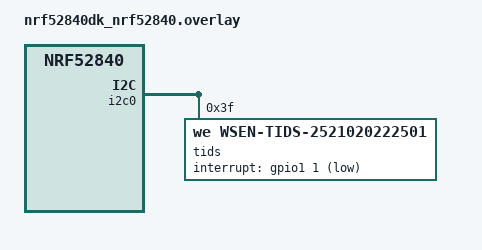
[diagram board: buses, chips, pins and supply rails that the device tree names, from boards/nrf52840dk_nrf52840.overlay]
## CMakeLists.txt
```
# SPDX-License-Identifier: Apache-2.0

cmake_minimum_required(VERSION 3.20.0)
find_package(Zephyr REQUIRED HINTS $ENV{ZEPHYR_BASE})
project(wsen_tids_2521020222501)

target_sources(app PRIVATE src/main.c)
```

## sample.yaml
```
sample:
  name: WSEN-TIDS-2521020222501 Sensor Sample
tests:
  sample.sensor.wsen-TIDS-2521020222501:
    harness: sensor
    tags: sensors
    depends_on: i2c gpio
    filter: dt_compat_enabled("we,wsen-tids-2521020222501")
```

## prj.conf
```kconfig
CONFIG_PRINTK=y
CONFIG_GPIO=y
CONFIG_I2C=y
CONFIG_SENSOR=y
CONFIG_CBPRINTF_FP_SUPPORT=y

CONFIG_LOG=y
CONFIG_LOG_MODE_MINIMAL=y
CONFIG_ASSERT=y

CONFIG_WSEN_TIDS_2521020222501_TRIGGER_OWN_THREAD=y
```

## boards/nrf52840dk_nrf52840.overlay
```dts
&i2c0 {
	tids:tids-2521020222501@3F {
		compatible = "we,wsen-tids-2521020222501";
		reg = < 0x3F >;
		odr = < 25 >;
		interrupt-gpios = <&gpio1 1 GPIO_ACTIVE_LOW>;
	};
};
```

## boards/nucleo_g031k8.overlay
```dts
&i2c1 {
	tids:tids-2521020222501@3F {
		compatible = "we,wsen-tids-2521020222501";
		reg = < 0x3F >;
		odr = < 25 >;
		interrupt-gpios = <&gpiob 3 GPIO_ACTIVE_LOW>;
	};
};
```

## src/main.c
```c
/*
 * Copyright (c) 2023 Würth Elektronik eiSos GmbH & Co. KG
 *
 * SPDX-License-Identifier: Apache-2.0
 */

#include <zephyr/kernel.h>

#include <zephyr/sys/printk.h>
#include <zephyr/sys_clock.h>
#include <stdio.h>

#include <zephyr/device.h>
#include <zephyr/drivers/sensor.h>
#include <zephyr/drivers/sensor/wsen_tids_2521020222501.h>
#include <zephyr/drivers/i2c.h>
#include <zephyr/logging/log.h>

LOG_MODULE_REGISTER(MAIN);

#define MAX_TEST_TIME 50000
#define SLEEPTIME     500

static void process_sample(const struct device *tids_2521020222501)
{
	struct sensor_value temp_value;

	if (sensor_sample_fetch(tids_2521020222501) < 0) {
		LOG_INF("sample update error.\n");
		return;
	}

	if (sensor_channel_get(tids_2521020222501, SENSOR_CHAN_AMBIENT_TEMP, &temp_value) < 0) {
		LOG_ERR("Temperature channel read error.\n");
		return;
	}

	LOG_INF("Temperature (Celsius): %f\n", sensor_value_to_double(&temp_value));
}

static void tids_2521020222501_low_temperature_handler(const struct device *tids_2521020222501,
						       const struct sensor_trigger *trig)
{
	LOG_INF("Low temperature threshold\n");

	if (sensor_trigger_set(tids_2521020222501, trig, NULL) < 0) {
		LOG_ERR("Failed to remove trigger.");
	}
}

static void tids_2521020222501_high_temperature_handler(const struct device *tids_2521020222501,
							const struct sensor_trigger *trig)
{
	LOG_INF("High temperature threshold\n");

	if (sensor_trigger_set(tids_2521020222501, trig, NULL) < 0) {
		LOG_ERR("Failed to remove trigger.");
	}
}

void temperature_low_trigger(const struct device *tids_2521020222501)
{

	struct sensor_value threshold;

	sensor_value_from_double(&threshold, 23.0);

	sensor_attr_set(tids_2521020222501, SENSOR_CHAN_AMBIENT_TEMP, SENSOR_ATTR_LOWER_THRESH,
			&threshold);

	struct sensor_trigger trig = {
		.type = SENSOR_TRIG_WSEN_TIDS_2521020222501_THRESHOLD_LOWER,
		.chan = SENSOR_CHAN_AMBIENT_TEMP,
	};

	if (sensor_trigger_set(tids_2521020222501, &trig,
			       tids_2521020222501_low_temperature_handler) < 0) {
		LOG_ERR("Failed to configure trigger.");
	}
}

void temperature_high_trigger(const struct device *tids_2521020222501)
{

	struct sensor_value threshold;

	sensor_value_from_double(&threshold, 27.0);

	sensor_attr_set(tids_2521020222501, SENSOR_CHAN_AMBIENT_TEMP, SENSOR_ATTR_UPPER_THRESH,
			&threshold);

	struct sensor_trigger trig = {
		.type = SENSOR_TRIG_WSEN_TIDS_2521020222501_THRESHOLD_UPPER,
		.chan = SENSOR_CHAN_AMBIENT_TEMP,
	};

	if (sensor_trigger_set(tids_2521020222501, &trig,
			       tids_2521020222501_high_temperature_handler) < 0) {
		LOG_ERR("Failed to configure trigger.");
	}
}

int main(void)
{
	const struct device *const tids_2521020222501 = DEVICE_DT_GET(DT_NODELABEL(tids));

	if (!device_is_ready(tids_2521020222501)) {
		LOG_ERR("sensor: device not ready.\n");
		return 0;
	}

	k_sleep(K_MSEC(SLEEPTIME));

	if (IS_ENABLED(CONFIG_WSEN_TIDS_2521020222501_TRIGGER)) {
		temperature_high_trigger(tids_2521020222501);
		temperature_low_trigger(tids_2521020222501);
	}

	/* polling mode */
	int32_t remaining_test_time = MAX_TEST_TIME;

	do {
		process_sample(tids_2521020222501);

		/* wait a while */
		k_sleep(K_MSEC(SLEEPTIME));

		remaining_test_time -= SLEEPTIME;
	} while (remaining_test_time > 0);

	k_sleep(K_FOREVER);
	return 0;
}
```
